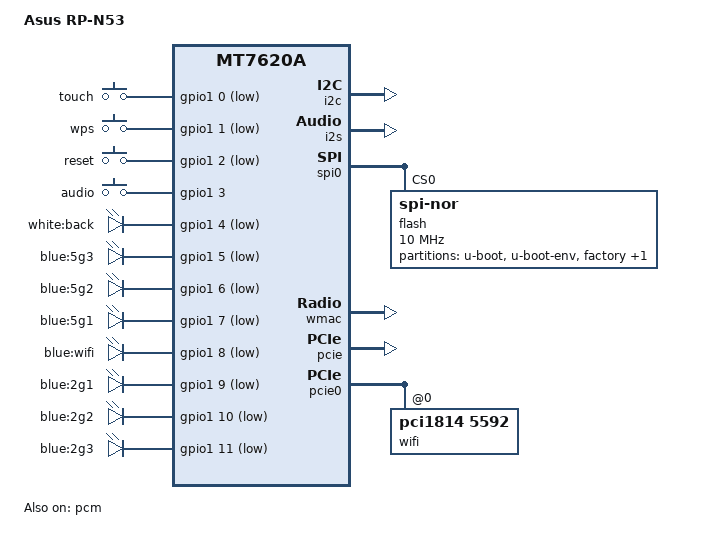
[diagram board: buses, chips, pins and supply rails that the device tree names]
#include "mt7620a.dtsi"

#include <dt-bindings/gpio/gpio.h>
#include <dt-bindings/input/input.h>

/ {
	compatible = "asus,rp-n53", "ralink,mt7620a-soc";
	model = "Asus RP-N53";

	keys {
		compatible = "gpio-keys";

		touch {
			label = "touch";
			gpios = <&gpio1 0 GPIO_ACTIVE_LOW>;
			linux,code = <BTN_0>;
		};

		wps {
			label = "wps";
			gpios = <&gpio1 1 GPIO_ACTIVE_LOW>;
			linux,code = <BTN_0>;
		};

		reset {
			label = "reset";
			gpios = <&gpio1 2 GPIO_ACTIVE_LOW>;
			linux,code = <BTN_0>;
		};

		audio {
			label = "audio";
			gpios = <&gpio1 3 GPIO_ACTIVE_HIGH>;
			linux,code = <BTN_1>;
		};
	};

	leds {
		compatible = "gpio-leds";

		backlight {
			label = "white:back";
			gpios = <&gpio1 4 GPIO_ACTIVE_LOW>;
		};

		wifi0 {
			label = "blue:5g3";
			gpios = <&gpio1 5 GPIO_ACTIVE_LOW>;
		};

		wifi1 {
			label = "blue:5g2";
			gpios = <&gpio1 6 GPIO_ACTIVE_LOW>;
		};

		wifi2 {
			label = "blue:5g1";
			gpios = <&gpio1 7 GPIO_ACTIVE_LOW>;
		};

		wifi3 {
			label = "blue:wifi";
			gpios = <&gpio1 8 GPIO_ACTIVE_LOW>;
		};

		wifi4 {
			label = "blue:2g1";
			gpios = <&gpio1 9 GPIO_ACTIVE_LOW>;
		};

		wifi5 {
			label = "blue:2g2";
			gpios = <&gpio1 10 GPIO_ACTIVE_LOW>;
		};

		wifi6 {
			label = "blue:2g3";
			gpios = <&gpio1 11 GPIO_ACTIVE_LOW>;
		};
	};
};

&gpio1 {
	status = "okay";
};

&i2c {
	status = "okay";
};

&i2s {
	status = "okay";
	pinctrl-names = "default";
	pinctrl-0 = <&pcm_i2s_pins>;
};

&spi0 {
	status = "okay";

	flash@0 {
		compatible = "jedec,spi-nor";
		reg = <0>;
		spi-max-frequency = <10000000>;

		partitions {
			compatible = "fixed-partitions";
			#address-cells = <1>;
			#size-cells = <1>;

			partition@0 {
				label = "u-boot";
				reg = <0x0 0x30000>;
				read-only;
			};

			partition@30000 {
				label = "u-boot-env";
				reg = <0x30000 0x10000>;
				read-only;
			};

			factory: partition@40000 {
				label = "factory";
				reg = <0x40000 0x10000>;
				read-only;
			};

			partition@50000 {
				compatible = "denx,uimage";
				label = "firmware";
				reg = <0x50000 0x7b0000>;
			};
		};
	};
};

&pcm {
	status = "okay";
};

&gdma {
	status = "okay";
};

&wmac {
	ralink,mtd-eeprom = <&factory 0x0>;
};

&state_default {
	gpio {
		groups = "mdio", "rgmii1";
		function = "gpio";
	};
};

&gsw {
	mediatek,port4 = "ephy";
	pinctrl-names = "default";
	pinctrl-0 = <&ephy_pins>;
};

&pcie {
	status = "okay";
};

&pcie0 {
	wifi@0,0 {
		compatible = "pci1814,5592";
		reg = <0x0000 0 0 0 0>;
		ralink,2ghz = <0>;
		ralink,mtd-eeprom = <&factory 0x8000>;
	};
};
